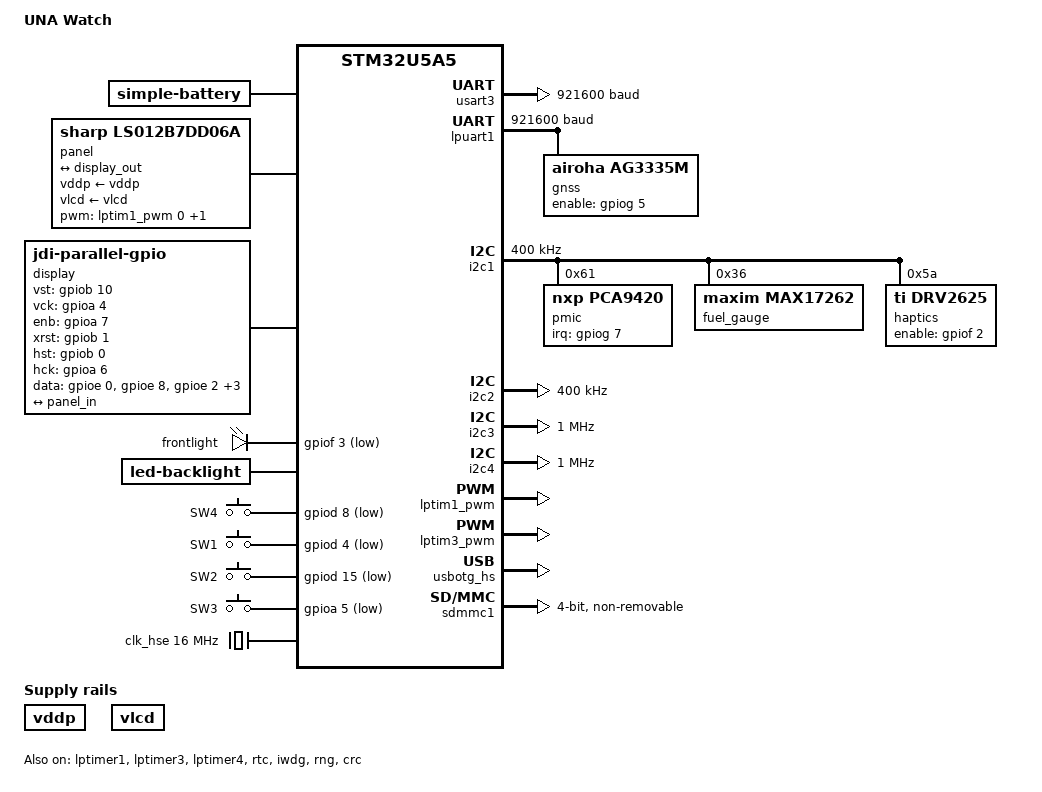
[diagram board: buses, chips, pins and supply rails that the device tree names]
// SPDX-FileCopyrightText: 2026 The unapebble authors
// SPDX-License-Identifier: (GPL-2.0-only OR BSD-2-Clause)

/dts-v1/;

// The UNA Watch, as its stock bootloader starts the kernel image: from 0x08060000, with the
// bootloader and the shared libc below, which stay

#include "st/stm32u5a5xj.dtsi"
#include "unawatch-pinctrl.dtsi"

#include <dt-bindings/gpio/gpio.h>
#include <dt-bindings/input/input.h>
#include <dt-bindings/interrupt-controller/irq.h>
#include <dt-bindings/pwm/pwm.h>

/ {
	model = "UNA Watch";
	compatible = "una,unawatch", "st,stm32u5a5";

	reserved-memory {
		#address-cells = <1>;
		#size-cells = <1>;
		ranges;

		// The crash dump and logs of the stock kernel, kept across resets, at the top of
		// SRAM5: left alone, so that it still finds them
		una_crash: memory@2025e000 {
			reg = <0x2025e000 0x12000>;
			no-map;
		};

		// The boot trace's record, kept across resets (CONFIG_BOOT_TRACE_RAM_BASE): above the
		// bootloader's stack, which starts at 0x201f0000
		boot_trace: memory@2025dc00 {
			reg = <0x2025dc00 0x400>;
			no-map;
		};
	};

	// The cell, a 4.4 V one, charged gently for its life: 0.5C, to 4.36 V, which the charger's
	// 0.75% keeps below the 4.40 V the stock firmware charges to, ending at the 14 mA its fuel
	// gauge model takes (docs/boards/unawatch/decisions)
	battery: battery {
		compatible = "simple-battery";
		device-chemistry = "lithium-ion-polymer";
		charge-full-design-microamp-hours = <200000>;
		constant-charge-current-max-microamp = <100000>;
		charge-term-current-microamp = <14000>;
		constant-charge-voltage-max-microvolt = <4360000>;
	};

	// The display module's supplies: PMIC rails, on whenever the watch is
	// (docs/boards/unawatch/hardware.md, section 4.1)
	vddp: regulator-vddp {
		compatible = "regulator-fixed";
		regulator-name = "vddp";
		regulator-always-on;
	};

	vlcd: regulator-vlcd {
		compatible = "regulator-fixed";
		regulator-name = "vlcd";
		regulator-always-on;
	};

	// The reflective color memory-in-pixel panel, 240 x 240, mounted a quarter turn round: line 0
	// is the right column of the image, top to bottom. FRP and XFRP are driven separately.
	panel: panel {
		compatible = "sharp,ls012b7dd06a";
		vddp-supply = <&vddp>;
		vlcd-supply = <&vlcd>;
		pwms = <&lptim1_pwm 0 32562256 0>, <&lptim3_pwm 0 32562256 PWM_POLARITY_INVERTED>;
		rotation = <90>;
		// ENB from the last HCK edge of a line, for about 11 us at the 1 MHz the CPU clocks
		// HCK at (LS012B7DD06A.cpp:326-336 of the stock firmware)
		jdi,enable-start = <123>;
		jdi,enable-end = <134>;

		panel-timing {
			clock-frequency = <1000000>;
			hactive = <240>;
			vactive = <240>;
			hback-porch = <0>;
			hfront-porch = <0>;
			hsync-len = <0>;
			vback-porch = <0>;
			vfront-porch = <0>;
			vsync-len = <0>;
		};

		port {
			panel_in: endpoint {
				remote-endpoint = <&display_out>;
			};
		};
	};

	// The panel's interface, clocked by the CPU: the stock firmware drives it the same way
	display: display {
		compatible = "jdi-parallel-gpio";
		vst-gpios = <&gpiob 10 GPIO_ACTIVE_HIGH>;
		vck-gpios = <&gpioa 4 GPIO_ACTIVE_HIGH>;
		enb-gpios = <&gpioa 7 GPIO_ACTIVE_HIGH>;
		xrst-gpios = <&gpiob 1 GPIO_ACTIVE_HIGH>;
		hst-gpios = <&gpiob 0 GPIO_ACTIVE_HIGH>;
		hck-gpios = <&gpioa 6 GPIO_ACTIVE_HIGH>;
		data-gpios = <&gpioe 0 GPIO_ACTIVE_HIGH>, /* R1 */
			     <&gpioe 8 GPIO_ACTIVE_HIGH>, /* R2 */
			     <&gpioe 2 GPIO_ACTIVE_HIGH>, /* G1 */
			     <&gpioe 10 GPIO_ACTIVE_HIGH>, /* G2 */
			     <&gpioe 4 GPIO_ACTIVE_HIGH>, /* B1 */
			     <&gpioe 12 GPIO_ACTIVE_HIGH>; /* B2 */

		port {
			display_out: endpoint {
				remote-endpoint = <&panel_in>;
			};
		};
	};

	// The frontlight, on or off
	leds {
		compatible = "gpio-leds";

		frontlight: led-frontlight {
			label = "frontlight";
			gpios = <&gpiof 3 (GPIO_ACTIVE_LOW | GPIO_OPEN_DRAIN)>;
		};
	};

	backlight: backlight {
		compatible = "led-backlight";
		leds = <&frontlight>;
	};

	// Active low, with an RC filter, on the internal pull-ups; the stock firmware debounces
	// them for 50 ms (HWButtons.hpp:146). Select is also the power button, the ON key of the
	// PMIC. Their EXTI lines wake the SoC from Stop 2 as they are; nothing wakes it from
	// Standby, so they are no wakeup sources.
	buttons: gpio-keys {
		compatible = "gpio-keys";

		button-back {
			label = "SW4";
			gpios = <&gpiod 8 (GPIO_ACTIVE_LOW | GPIO_PULL_UP)>;
			linux,code = <KEY_BACK>;
			debounce-interval = <40>;
		};

		button-up {
			label = "SW1";
			gpios = <&gpiod 4 (GPIO_ACTIVE_LOW | GPIO_PULL_UP)>;
			linux,code = <KEY_UP>;
			debounce-interval = <40>;
		};

		button-select {
			label = "SW2";
			gpios = <&gpiod 15 (GPIO_ACTIVE_LOW | GPIO_PULL_UP)>;
			linux,code = <KEY_SELECT>;
			debounce-interval = <40>;
		};

		button-down {
			label = "SW3";
			gpios = <&gpioa 5 (GPIO_ACTIVE_LOW | GPIO_PULL_UP)>;
			linux,code = <KEY_DOWN>;
			debounce-interval = <40>;
		};
	};
};

// The 16 MHz crystal, for the USB HS PHY only
&clk_hse {
	clock-frequency = <16000000>;
};

// The SMPS supplies VCORE
&pwr {
	st,supply-config = "smps";
};

// The CPU and every bus at 160 MHz from PLL1 on MSIS at 48 MHz (M = 3, N = 10, R = 1); LPTIM4
// and the RTC count the external 32.768 kHz clock, an LSE in bypass; the console runs from PCLK1.
// The eMMC's kernel clock is ICLK on PLL1 Q at 80 MHz, as the stock firmware has it, set before
// PLL1 R: PLL1 does not change once the system runs on it. The GNSS port, LPUART1, runs on MSIK
// at 4 MHz, which keeps running in Stop 2 while the port is in use.
&rcc {
	st,lse-bypass;
	assigned-clocks = <&rcc STM32U5_CLK_PLL1_SRC>, <&rcc STM32U5_CLK_SYSCLK>,
			  <&rcc STM32U5_CLK_LPTIM4>, <&rcc STM32U5_CLK_RTC>,
			  <&rcc STM32U5_CLK_LPTIM1>, <&rcc STM32U5_CLK_ICLK>,
			  <&rcc STM32U5_CLK_SDMMC1>, <&rcc STM32U5_CLK_LPUART1>,
			  <&rcc STM32U5_CLK_MSIS>, <&rcc STM32U5_CLK_PLL1_Q>, <&rcc STM32U5_CLK_PLL1_R>,
			  <&rcc STM32U5_CLK_HCLK>, <&rcc STM32U5_CLK_PCLK1>,
			  <&rcc STM32U5_CLK_PCLK2>, <&rcc STM32U5_CLK_PCLK3>, <&rcc STM32U5_CLK_MSIK>;
	assigned-clock-parents = <&rcc STM32U5_CLK_MSIS>, <&rcc STM32U5_CLK_PLL1_R>,
				 <&rcc STM32U5_CLK_LSE>, <&rcc STM32U5_CLK_LSE>,
				 <&rcc STM32U5_CLK_LSE>, <&rcc STM32U5_CLK_PLL1_Q>,
				 <&rcc STM32U5_CLK_ICLK>, <&rcc STM32U5_CLK_MSIK>,
				 <0>, <0>, <0>, <0>, <0>, <0>, <0>, <0>;
	assigned-clock-rates = <0>, <0>, <0>, <0>, <0>, <0>, <0>, <0>, <48000000>, <80000000>,
			       <160000000>, <160000000>, <160000000>, <160000000>, <160000000>,
			       <4000000>;
};

&usart3 {
	pinctrl-0 = <&usart3_default>;
	pinctrl-names = "default";
	current-speed = <921600>;
	status = "okay";
};

// GPDMA1, for the GNSS port's reception
&gpdma1 {
	status = "okay";
};

// The GNSS port, as the stock firmware has it: 921600 baud, no flow control, reception on GPDMA1
// channel 11 at high priority (LpUart.cpp:588-705)
&lpuart1 {
	pinctrl-0 = <&lpuart1_default>;
	pinctrl-1 = <&lpuart1_sleep>;
	pinctrl-names = "default", "sleep";
	current-speed = <921600>;
	dmas = <&gpdma1 11 34 2>;
	dma-names = "rx";
	status = "okay";

	// The Airoha AG3335M on the link2 module, powered by GNSS_EN; there is no reset or wake line
	gnss: gnss {
		compatible = "airoha,ag3335m";
		enable-gpios = <&gpiog 5 GPIO_ACTIVE_HIGH>;
	};
};

// The buses of the core board and of the modules, each module with its EEPROM on its own. The
// devices on them come with their drivers.
&i2c1 {
	pinctrl-0 = <&i2c1_default>;
	pinctrl-names = "default";
	clock-frequency = <400000>;
	status = "okay";

	// Its rails are on at power-on and left as they are; its charger is driven. INTB is
	// wired-OR with the STUSB4500's ALERT on PWR_INT_L, which the STUSB4500 may hold low while
	// USB is in, hence both edges.
	pmic: pmic@61 {
		compatible = "nxp,pca9420";
		reg = <0x61>;
		pinctrl-0 = <&pwr_int_default>;
		pinctrl-names = "default";
		interrupt-parent = <&gpiog>;
		interrupts = <7 IRQ_TYPE_EDGE_BOTH>;
		monitored-battery = <&battery>;
	};

	// The stock firmware's EZ model, so that switching firmware keeps what it learned
	// (FuelGauge.cpp, main.h:239-253)
	fuel_gauge: fuel-gauge@36 {
		compatible = "maxim,max17262";
		reg = <0x36>;
		monitored-battery = <&battery>;
		maxim,empty-microvolt = <3400000>;
		maxim,recovery-microvolt = <3960000>;
	};

	// An ERM, at the voltages of the stock firmware: 2.7 V rated, 2.95 V overdrive
	// (DRV2625.cpp:140-149)
	haptics: haptics@5a {
		compatible = "ti,drv2625";
		reg = <0x5a>;
		enable-gpios = <&gpiof 2 GPIO_ACTIVE_HIGH>;
		ti,rated-voltage = <123>;
		ti,od-clamp = <137>;
	};
};

&i2c2 {
	pinctrl-0 = <&i2c2_default>;
	pinctrl-names = "default";
	clock-frequency = <400000>;
	status = "okay";
};

&i2c3 {
	pinctrl-0 = <&i2c3_default>;
	pinctrl-names = "default";
	clock-frequency = <1000000>;
	status = "okay";
};

&i2c4 {
	pinctrl-0 = <&i2c4_default>;
	pinctrl-names = "default";
	clock-frequency = <1000000>;
	status = "okay";
};

// The display's VCOM, FRP and XFRP, on the LSE, which keeps them running in Stop 2
&lptimer1 {
	status = "okay";
};

&lptim1_pwm {
	pinctrl-0 = <&lptim1_pwm_default>;
	pinctrl-names = "default";
	status = "okay";
};

&lptimer3 {
	status = "okay";
};

&lptim3_pwm {
	pinctrl-0 = <&lptim3_pwm_default>;
	pinctrl-names = "default";
	status = "okay";
};

// The system timer, on the LSE, which keeps running in Stop 2. LPTIM1 and LPTIM3 are the
// display's.
&lptimer4 {
	status = "okay";

	timer {
		status = "okay";
	};
};

&rtc {
	status = "okay";
};

&iwdg {
	status = "okay";
};

&rng {
	status = "okay";
};

&crc {
	status = "okay";
};

// The USB OTG HS on its internal high-speed PHY, on the 16 MHz crystal; VBUS is not wired to it.
// Only the developer access (CONFIG_DEV_USB) drives it, which powers it up when it connects.
&usbotg_hs {
	pinctrl-0 = <&usbotg_hs_default>;
	pinctrl-names = "default";
	status = "okay";
};

// The 4 GB eMMC, powered by EMMC_EN (PD10), which the stock firmware gives 35 ms. UNA's firmware
// splits it at fixed offsets (docs/boards/unawatch/hardware.md, section 3.3): the update drive the
// bootloader reads from 0, SYS from 100 MiB, GUI from 200 MiB, the user drive from 300 MiB.
// Nothing reads or writes GUI: the firmware's storage is its first 32 MiB.
&sdmmc1 {
	pinctrl-0 = <&sdmmc1_default>;
	pinctrl-1 = <&sdmmc1_sleep>;
	pinctrl-names = "default", "sleep";
	enable-gpios = <&gpiod 10 GPIO_ACTIVE_HIGH>;
	post-power-on-delay-ms = <35>;
	max-frequency = <52000000>;
	bus-width = <4>;
	non-removable;
	#address-cells = <1>;
	#size-cells = <1>;
	status = "okay";

	emmc_storage: flash@c800000 {
		compatible = "pebble,mmc-nor";
		reg = <0xc800000 0x2000000>;
	};
};

&internal_flash {
	partitions {
		compatible = "fixed-partitions";
		#address-cells = <1>;
		#size-cells = <1>;

		// The stock bootloader, which starts the image at 0x08060000
		partition@0 {
			label = "bootloader";
			reg = <0x0 0x28000>;
			read-only;
		};

		// The libc of the stock kernel, which restoring it needs
		partition@28000 {
			label = "una-libc";
			reg = <0x28000 0x38000>;
			read-only;
		};

		// The rest of the flash, which the bootloader installs an image to: the firmware may
		// split it (pebble/boards/unawatch.overlay)
		partition@60000 {
			label = "code";
			reg = <0x60000 0x3a0000>;
		};
	};
};
